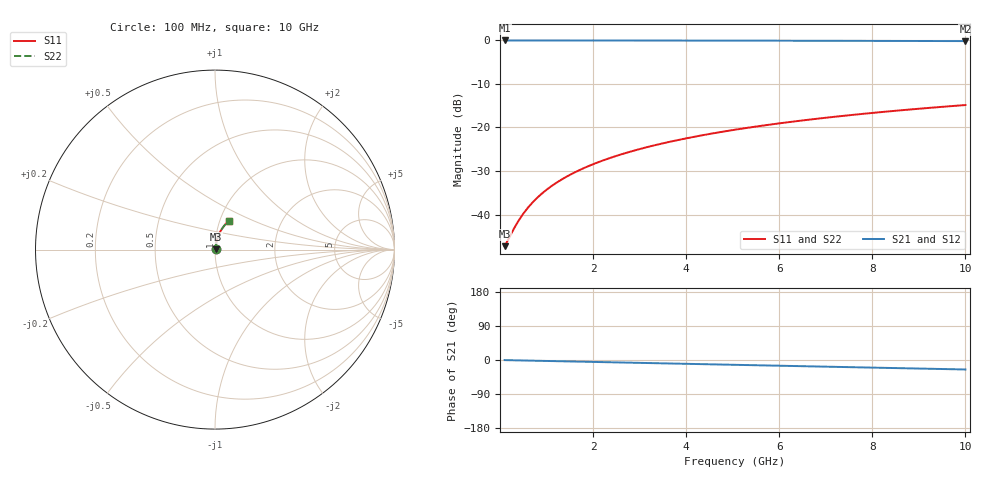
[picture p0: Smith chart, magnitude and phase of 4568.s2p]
# Hz S RI R 50.00
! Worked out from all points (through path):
!   100 points, 100 MHz to 10 GHz, reference 50 ohm
!   highest |S21| = -0.03 dB at 100 MHz (marker M1); lowest = -0.2 dB at 10 GHz (marker M2)
!   group delay of S21, straight-line fit = 6.96 ps
!   lowest |S11| = -47.3 dB at 100 MHz (marker M3), VSWR 1.01, Z = 50.4 + j0.188 ohm
!   |S11| at or under -10 dB: start of sweep to end of sweep
!   |S22| runs from -47.3 to -14.9 dB; largest |S21 - S12| = 0
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1e8  0.00392 0.00187  0.9961 -0.00439  0.9961 -0.00439  0.00392 0.00187
3e8  0.00403 0.0056  0.9959 -0.0132  0.9959 -0.0132  0.00403 0.0056
4e8  0.0041 0.00746  0.9958 -0.0175  0.9958 -0.0175  0.0041 0.00746
5e8  0.00419 0.00933  0.9957 -0.0219  0.9957 -0.0219  0.00419 0.00933
6e8  0.00429 0.0112  0.9956 -0.0263  0.9956 -0.0263  0.00429 0.0112
7e8  0.0044 0.0131  0.9954 -0.0307  0.9954 -0.0307  0.0044 0.0131
8e8  0.00453 0.0149  0.9952 -0.0351  0.9952 -0.0351  0.00453 0.0149
1e9  0.00485 0.0186  0.9948 -0.0438  0.9948 -0.0438  0.00485 0.0186
1.2e9  0.00522 0.0223  0.9943 -0.0526  0.9943 -0.0526  0.00522 0.0223
1.5e9  0.0059 0.0279  0.9933 -0.0657  0.9933 -0.0657  0.0059 0.0279
1.8e9  0.00673 0.0334  0.9922 -0.0788  0.9922 -0.0788  0.00673 0.0334
2.1e9  0.0077 0.0389  0.9908 -0.0918  0.9908 -0.0918  0.0077 0.0389
2.5e9  0.00922 0.0462  0.9887 -0.1092  0.9887 -0.1092  0.00922 0.0462
2.9e9  0.011 0.0534  0.9863 -0.1265  0.9863 -0.1265  0.011 0.0534
3.4e9  0.0136 0.0624  0.9827 -0.1481  0.9827 -0.1481  0.0136 0.0624
4.2e9  0.0185 0.0764  0.9758 -0.1823  0.9758 -0.1823  0.0185 0.0764
5.1e9  0.0251 0.0917  0.9664 -0.2203  0.9664 -0.2203  0.0251 0.0917
5.9e9  0.032 0.1048  0.9567 -0.2535  0.9567 -0.2535  0.032 0.1048
6.7e9  0.0398 0.1173  0.9456 -0.2862  0.9456 -0.2862  0.0398 0.1173
7.5e9  0.0484 0.1292  0.9333 -0.3183  0.9333 -0.3183  0.0484 0.1292
8.4e9  0.059 0.1418  0.918 -0.3537  0.918 -0.3537  0.059 0.1418
1e10  0.0801 0.162  0.8873 -0.4141  0.8873 -0.4141  0.0801 0.162
